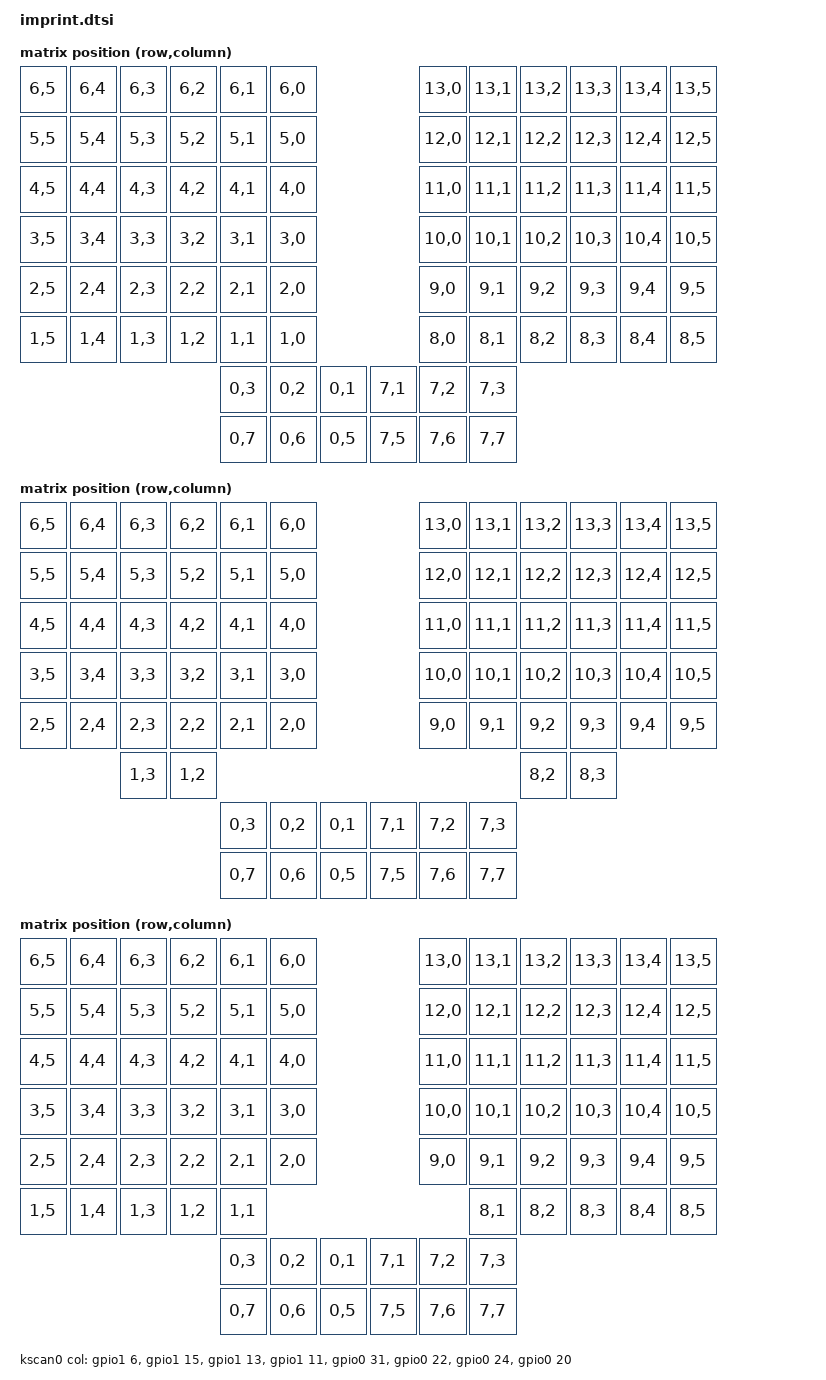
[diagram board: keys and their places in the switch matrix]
#include <dt-bindings/zmk/matrix_transform.h>
#include <input/processors.dtsi>
#include <dt-bindings/zmk/input_transform.h>
#include <physical_layouts.dtsi>

/ {
    chosen {
        zmk,kscan = &kscan0;
        zmk,physical-layout = &imprint_letters_only_layout;
    };

    physical_layouts {
        compatible = "zmk,physical-layouts";

        imprint_letters_only_layout: imprint_letters_only_layout {
            compatible = "zmk,physical-layout";
            display-name = "Letters Only";
            transform = <&imprint_letters_only>;

            keys = <
/* Left top row (RC(4,x)) */
&key_physical_attrs 100 100 0    0   0 0    0
&key_physical_attrs 100 100 200  25  0 200  25
&key_physical_attrs 100 100 400  50  0 400  50
&key_physical_attrs 100 100 600  75  0 600  75
&key_physical_attrs 100 100 800  50  0 800  50
&key_physical_attrs 100 100 1000 25  0 1000 25

/* Right top row (RC(11,x)) */
&key_physical_attrs 100 100 1300 25  0 1300 25
&key_physical_attrs 100 100 1500 50  0 1500 50
&key_physical_attrs 100 100 1700 75  0 1700 75
&key_physical_attrs 100 100 1900 50  0 1900 50
&key_physical_attrs 100 100 2100 25  0 2100 25
&key_physical_attrs 100 100 2300 0   0 2300 0

/* Left middle row (RC(3,x)) */
&key_physical_attrs 100 100 0    100 0 0    100
&key_physical_attrs 100 100 200  125 0 200  125
&key_physical_attrs 100 100 400  150 0 400  150
&key_physical_attrs 100 100 600  175 0 600  175
&key_physical_attrs 100 100 800  150 0 800  150
&key_physical_attrs 100 100 1000 125 0 1000 125

/* Right middle row (RC(10,x)) */
&key_physical_attrs 100 100 1300 125 0 1300 125
&key_physical_attrs 100 100 1500 150 0 1500 150
&key_physical_attrs 100 100 1700 175 0 1700 175
&key_physical_attrs 100 100 1900 150 0 1900 150
&key_physical_attrs 100 100 2100 125 0 2100 125
&key_physical_attrs 100 100 2300 100 0 2300 100

/* Left bottom row (RC(2,x)) */
&key_physical_attrs 100 100 0    200 0 0    200
&key_physical_attrs 100 100 200  225 0 200  225
&key_physical_attrs 100 100 400  250 0 400  250
&key_physical_attrs 100 100 600  275 0 600  275
&key_physical_attrs 100 100 800  250 0 800  250
&key_physical_attrs 100 100 1000 225 0 1000 225

/* Right bottom row (RC(9,x)) */
&key_physical_attrs 100 100 1300 225 0 1300 225
&key_physical_attrs 100 100 1500 250 0 1500 250
&key_physical_attrs 100 100 1700 275 0 1700 275
&key_physical_attrs 100 100 1900 250 0 1900 250
&key_physical_attrs 100 100 2100 225 0 2100 225
&key_physical_attrs 100 100 2300 200 0 2300 200

/* Light blue keys - left: RC(1,3) RC(1,2) */
&key_physical_attrs 100 100 400  375 0 400  375
&key_physical_attrs 100 100 600  375 0 600  375

/* Light blue keys - right: RC(8,2) RC(8,3) */
&key_physical_attrs 100 100 1700 375 0 1700 375
&key_physical_attrs 100 100 1900 375 0 1900 375

/* Left thumb top row: RC(0,3) RC(0,2) RC(0,1) */
&key_physical_attrs 100 100 500  500 0 500  500
&key_physical_attrs 100 100 700  500 0 700  500
&key_physical_attrs 100 100 900  500 0 900  500

/* Right thumb top row: RC(7,1) RC(7,2) RC(7,3) */
&key_physical_attrs 100 100 1300 500 0 1300 500
&key_physical_attrs 100 100 1500 500 0 1500 500
&key_physical_attrs 100 100 1700 500 0 1700 500

/* Left thumb bottom row: RC(0,7) RC(0,6) RC(0,5) */
&key_physical_attrs 100 100 500  600 0 500  600
&key_physical_attrs 100 100 700  600 0 700  600
&key_physical_attrs 100 100 900  600 0 900  600

/* Right thumb bottom row: RC(7,5) RC(7,6) RC(7,7) */
&key_physical_attrs 100 100 1300 600 0 1300 600
&key_physical_attrs 100 100 1500 600 0 1500 600
&key_physical_attrs 100 100 1700 600 0 1700 600
            >;
        };
    };

    default_transform: keymap_transform_0 {
        compatible = "zmk,matrix-transform";
        columns = <8>;
        rows = <14>;
        map = <
RC(6,5) RC(6,4) RC(6,3) RC(6,2) RC(6,1) RC(6,0)                           RC(13,0) RC(13,1) RC(13,2) RC(13,3) RC(13,4) RC(13,5)
RC(5,5) RC(5,4) RC(5,3) RC(5,2) RC(5,1) RC(5,0)                           RC(12,0) RC(12,1) RC(12,2) RC(12,3) RC(12,4) RC(12,5)
RC(4,5) RC(4,4) RC(4,3) RC(4,2) RC(4,1) RC(4,0)                           RC(11,0) RC(11,1) RC(11,2) RC(11,3) RC(11,4) RC(11,5)
RC(3,5) RC(3,4) RC(3,3) RC(3,2) RC(3,1) RC(3,0)                           RC(10,0) RC(10,1) RC(10,2) RC(10,3) RC(10,4) RC(10,5)
RC(2,5) RC(2,4) RC(2,3) RC(2,2) RC(2,1) RC(2,0)                           RC(9,0)  RC(9,1)  RC(9,2)  RC(9,3)  RC(9,4)  RC(9,5)
RC(1,5) RC(1,4) RC(1,3) RC(1,2) RC(1,1) RC(1,0)                           RC(8,0)  RC(8,1)  RC(8,2)  RC(8,3)  RC(8,4)  RC(8,5)
                                    RC(0,3) RC(0,2) RC(0,1)   RC(7,1) RC(7,2) RC(7,3)
                                    RC(0,7) RC(0,6) RC(0,5)   RC(7,5) RC(7,6) RC(7,7)
        >;
    };

    imprint_function_row: keymap_transform_1 {
        compatible = "zmk,matrix-transform";
        columns = <8>;
        rows = <14>;
        map = <
RC(6,5) RC(6,4) RC(6,3) RC(6,2) RC(6,1) RC(6,0)                           RC(13,0) RC(13,1) RC(13,2) RC(13,3) RC(13,4) RC(13,5)
RC(5,5) RC(5,4) RC(5,3) RC(5,2) RC(5,1) RC(5,0)                           RC(12,0) RC(12,1) RC(12,2) RC(12,3) RC(12,4) RC(12,5)
RC(4,5) RC(4,4) RC(4,3) RC(4,2) RC(4,1) RC(4,0)                           RC(11,0) RC(11,1) RC(11,2) RC(11,3) RC(11,4) RC(11,5)
RC(3,5) RC(3,4) RC(3,3) RC(3,2) RC(3,1) RC(3,0)                           RC(10,0) RC(10,1) RC(10,2) RC(10,3) RC(10,4) RC(10,5)
RC(2,5) RC(2,4) RC(2,3) RC(2,2) RC(2,1) RC(2,0)                           RC(9,0)  RC(9,1)  RC(9,2)  RC(9,3)  RC(9,4)  RC(9,5)
                RC(1,3) RC(1,2)                                                             RC(8,2)  RC(8,3)
                                    RC(0,3) RC(0,2) RC(0,1)   RC(7,1) RC(7,2) RC(7,3)
                                    RC(0,7) RC(0,6) RC(0,5)   RC(7,5) RC(7,6) RC(7,7)
        >;
    };

    imprint_function_row_full_bottom_row: keymap_transform_2 {
        compatible = "zmk,matrix-transform";
        columns = <8>;
        rows = <14>;
        map = <
RC(6,5) RC(6,4) RC(6,3) RC(6,2) RC(6,1) RC(6,0)                           RC(13,0) RC(13,1) RC(13,2) RC(13,3) RC(13,4) RC(13,5)
RC(5,5) RC(5,4) RC(5,3) RC(5,2) RC(5,1) RC(5,0)                           RC(12,0) RC(12,1) RC(12,2) RC(12,3) RC(12,4) RC(12,5)
RC(4,5) RC(4,4) RC(4,3) RC(4,2) RC(4,1) RC(4,0)                           RC(11,0) RC(11,1) RC(11,2) RC(11,3) RC(11,4) RC(11,5)
RC(3,5) RC(3,4) RC(3,3) RC(3,2) RC(3,1) RC(3,0)                           RC(10,0) RC(10,1) RC(10,2) RC(10,3) RC(10,4) RC(10,5)
RC(2,5) RC(2,4) RC(2,3) RC(2,2) RC(2,1) RC(2,0)                           RC(9,0)  RC(9,1)  RC(9,2)  RC(9,3)  RC(9,4)  RC(9,5)
RC(1,5) RC(1,4) RC(1,3) RC(1,2) RC(1,1)                                            RC(8,1)  RC(8,2)  RC(8,3)  RC(8,4)  RC(8,5)
                                    RC(0,3) RC(0,2) RC(0,1)   RC(7,1) RC(7,2) RC(7,3)
                                    RC(0,7) RC(0,6) RC(0,5)   RC(7,5) RC(7,6) RC(7,7)
        >;
    };

    imprint_function_row_no_bottom_row: keymap_transform_3 {
        compatible = "zmk,matrix-transform";
        columns = <8>;
        rows = <14>;
        map = <
RC(6,5) RC(6,4) RC(6,3) RC(6,2) RC(6,1) RC(6,0)                           RC(13,0) RC(13,1) RC(13,2) RC(13,3) RC(13,4) RC(13,5)
RC(5,5) RC(5,4) RC(5,3) RC(5,2) RC(5,1) RC(5,0)                           RC(12,0) RC(12,1) RC(12,2) RC(12,3) RC(12,4) RC(12,5)
RC(4,5) RC(4,4) RC(4,3) RC(4,2) RC(4,1) RC(4,0)                           RC(11,0) RC(11,1) RC(11,2) RC(11,3) RC(11,4) RC(11,5)
RC(3,5) RC(3,4) RC(3,3) RC(3,2) RC(3,1) RC(3,0)                           RC(10,0) RC(10,1) RC(10,2) RC(10,3) RC(10,4) RC(10,5)
RC(2,5) RC(2,4) RC(2,3) RC(2,2) RC(2,1) RC(2,0)                           RC(9,0)  RC(9,1)  RC(9,2)  RC(9,3)  RC(9,4)  RC(9,5)
                                    RC(0,3) RC(0,2) RC(0,1)   RC(7,1) RC(7,2) RC(7,3)
                                    RC(0,7) RC(0,6) RC(0,5)   RC(7,5) RC(7,6) RC(7,7)
        >;
    };

    imprint_number_row: keymap_transform_4 {
        compatible = "zmk,matrix-transform";
        columns = <8>;
        rows = <14>;
        map = <
RC(5,5) RC(5,4) RC(5,3) RC(5,2) RC(5,1) RC(5,0)                           RC(12,0) RC(12,1) RC(12,2) RC(12,3) RC(12,4) RC(12,5)
RC(4,5) RC(4,4) RC(4,3) RC(4,2) RC(4,1) RC(4,0)                           RC(11,0) RC(11,1) RC(11,2) RC(11,3) RC(11,4) RC(11,5)
RC(3,5) RC(3,4) RC(3,3) RC(3,2) RC(3,1) RC(3,0)                           RC(10,0) RC(10,1) RC(10,2) RC(10,3) RC(10,4) RC(10,5)
RC(2,5) RC(2,4) RC(2,3) RC(2,2) RC(2,1) RC(2,0)                           RC(9,0)  RC(9,1)  RC(9,2)  RC(9,3)  RC(9,4)  RC(9,5)
                RC(1,3) RC(1,2)                                                             RC(8,2)  RC(8,3)
                                    RC(0,3) RC(0,2) RC(0,1)   RC(7,1) RC(7,2) RC(7,3)
                                    RC(0,7) RC(0,6) RC(0,5)   RC(7,5) RC(7,6) RC(7,7)
        >;
    };

    imprint_number_row_full_bottom_row: keymap_transform_5 {
        compatible = "zmk,matrix-transform";
        columns = <8>;
        rows = <14>;
        map = <
RC(5,5) RC(5,4) RC(5,3) RC(5,2) RC(5,1) RC(5,0)                           RC(12,0) RC(12,1) RC(12,2) RC(12,3) RC(12,4) RC(12,5)
RC(4,5) RC(4,4) RC(4,3) RC(4,2) RC(4,1) RC(4,0)                           RC(11,0) RC(11,1) RC(11,2) RC(11,3) RC(11,4) RC(11,5)
RC(3,5) RC(3,4) RC(3,3) RC(3,2) RC(3,1) RC(3,0)                           RC(10,0) RC(10,1) RC(10,2) RC(10,3) RC(10,4) RC(10,5)
RC(2,5) RC(2,4) RC(2,3) RC(2,2) RC(2,1) RC(2,0)                           RC(9,0)  RC(9,1)  RC(9,2)  RC(9,3)  RC(9,4)  RC(9,5)
RC(1,5) RC(1,4) RC(1,3) RC(1,2) RC(1,1)                                            RC(8,1)  RC(8,2)  RC(8,3)  RC(8,4)  RC(8,5)
                                    RC(0,3) RC(0,2) RC(0,1)   RC(7,1) RC(7,2) RC(7,3)
                                    RC(0,7) RC(0,6) RC(0,5)   RC(7,5) RC(7,6) RC(7,7)
        >;
    };

    imprint_number_row_no_bottom_row: keymap_transform_6 {
        compatible = "zmk,matrix-transform";
        columns = <8>;
        rows = <14>;
        map = <
RC(5,5) RC(5,4) RC(5,3) RC(5,2) RC(5,1) RC(5,0)                           RC(12,0) RC(12,1) RC(12,2) RC(12,3) RC(12,4) RC(12,5)
RC(4,5) RC(4,4) RC(4,3) RC(4,2) RC(4,1) RC(4,0)                           RC(11,0) RC(11,1) RC(11,2) RC(11,3) RC(11,4) RC(11,5)
RC(3,5) RC(3,4) RC(3,3) RC(3,2) RC(3,1) RC(3,0)                           RC(10,0) RC(10,1) RC(10,2) RC(10,3) RC(10,4) RC(10,5)
RC(2,5) RC(2,4) RC(2,3) RC(2,2) RC(2,1) RC(2,0)                           RC(9,0)  RC(9,1)  RC(9,2)  RC(9,3)  RC(9,4)  RC(9,5)
                                    RC(0,3) RC(0,2) RC(0,1)   RC(7,1) RC(7,2) RC(7,3)
                                    RC(0,7) RC(0,6) RC(0,5)   RC(7,5) RC(7,6) RC(7,7)
        >;
    };

    imprint_letters_only: keymap_transform_7 {
        compatible = "zmk,matrix-transform";
        columns = <8>;
        rows = <14>;
        map = <
RC(4,5) RC(4,4) RC(4,3) RC(4,2) RC(4,1) RC(4,0)                           RC(11,0) RC(11,1) RC(11,2) RC(11,3) RC(11,4) RC(11,5)
RC(3,5) RC(3,4) RC(3,3) RC(3,2) RC(3,1) RC(3,0)                           RC(10,0) RC(10,1) RC(10,2) RC(10,3) RC(10,4) RC(10,5)
RC(2,5) RC(2,4) RC(2,3) RC(2,2) RC(2,1) RC(2,0)                           RC(9,0)  RC(9,1)  RC(9,2)  RC(9,3)  RC(9,4)  RC(9,5)
                RC(1,3) RC(1,2)                                                             RC(8,2)  RC(8,3)
                                    RC(0,3) RC(0,2) RC(0,1)   RC(7,1) RC(7,2) RC(7,3)
                                    RC(0,7) RC(0,6) RC(0,5)   RC(7,5) RC(7,6) RC(7,7)
        >;
    };

    imprint_letters_only_full_bottom_row: keymap_transform_8 {
        compatible = "zmk,matrix-transform";
        columns = <8>;
        rows = <14>;
        map = <
RC(4,5) RC(4,4) RC(4,3) RC(4,2) RC(4,1) RC(4,0)                           RC(11,0) RC(11,1) RC(11,2) RC(11,3) RC(11,4) RC(11,5)
RC(3,5) RC(3,4) RC(3,3) RC(3,2) RC(3,1) RC(3,0)                           RC(10,0) RC(10,1) RC(10,2) RC(10,3) RC(10,4) RC(10,5)
RC(2,5) RC(2,4) RC(2,3) RC(2,2) RC(2,1) RC(2,0)                           RC(9,0)  RC(9,1)  RC(9,2)  RC(9,3)  RC(9,4)  RC(9,5)
RC(1,5) RC(1,4) RC(1,3) RC(1,2) RC(1,1)                                            RC(8,1)  RC(8,2)  RC(8,3)  RC(8,4)  RC(8,5)
                                    RC(0,3) RC(0,2) RC(0,1)   RC(7,1) RC(7,2) RC(7,3)
                                    RC(0,7) RC(0,6) RC(0,5)   RC(7,5) RC(7,6) RC(7,7)
        >;
    };

    imprint_letters_only_no_bottom_row: keymap_transform_9 {
        compatible = "zmk,matrix-transform";
        columns = <8>;
        rows = <14>;
        map = <
RC(4,5) RC(4,4) RC(4,3) RC(4,2) RC(4,1) RC(4,0)                           RC(11,0) RC(11,1) RC(11,2) RC(11,3) RC(11,4) RC(11,5)
RC(3,5) RC(3,4) RC(3,3) RC(3,2) RC(3,1) RC(3,0)                           RC(10,0) RC(10,1) RC(10,2) RC(10,3) RC(10,4) RC(10,5)
RC(2,5) RC(2,4) RC(2,3) RC(2,2) RC(2,1) RC(2,0)                           RC(9,0)  RC(9,1)  RC(9,2)  RC(9,3)  RC(9,4)  RC(9,5)
                                    RC(0,3) RC(0,2) RC(0,1)   RC(7,1) RC(7,2) RC(7,3)
                                    RC(0,7) RC(0,6) RC(0,5)   RC(7,5) RC(7,6) RC(7,7)
        >;
    };

    dactyl_manuform_number_row: keymap_transform_10 {
        compatible = "zmk,matrix-transform";
        columns = <8>;
        rows = <14>;
        map = <
RC(5,5) RC(5,4) RC(5,3) RC(5,2) RC(5,1) RC(5,0)                           RC(12,0) RC(12,1) RC(12,2) RC(12,3) RC(12,4) RC(12,5)
RC(4,5) RC(4,4) RC(4,3) RC(4,2) RC(4,1) RC(4,0)                           RC(11,0) RC(11,1) RC(11,2) RC(11,3) RC(11,4) RC(11,5)
RC(3,5) RC(3,4) RC(3,3) RC(3,2) RC(3,1) RC(3,0)                           RC(10,0) RC(10,1) RC(10,2) RC(10,3) RC(10,4) RC(10,5)
RC(2,5) RC(2,4) RC(2,3) RC(2,2) RC(2,1) RC(2,0)                           RC(9,0)  RC(9,1)  RC(9,2)  RC(9,3)  RC(9,4)  RC(9,5)
RC(1,5) RC(1,4) RC(1,3) RC(1,2)                                                             RC(8,2)  RC(8,3)  RC(8,4)  RC(8,5)
                                    RC(0,3) RC(0,2) RC(0,1)   RC(7,1) RC(7,2) RC(7,3)
                                    RC(0,7) RC(0,6) RC(0,5)   RC(7,5) RC(7,6) RC(7,7)
        >;
    };

    dactyl_single_arc_letters_only: keymap_transform_11 {
        compatible = "zmk,matrix-transform";
        columns = <8>;
        rows = <14>;
        map = <
RC(4,5) RC(4,4) RC(4,3) RC(4,2) RC(4,1) RC(4,0)                           RC(11,0) RC(11,1) RC(11,2) RC(11,3) RC(11,4) RC(11,5)
RC(3,5) RC(3,4) RC(3,3) RC(3,2) RC(3,1) RC(3,0)                           RC(10,0) RC(10,1) RC(10,2) RC(10,3) RC(10,4) RC(10,5)
RC(2,5) RC(2,4) RC(2,3) RC(2,2) RC(2,1) RC(2,0)                           RC(9,0)  RC(9,1)  RC(9,2)  RC(9,3)  RC(9,4)  RC(9,5)
RC(1,5) RC(1,4) RC(1,3) RC(1,2)                                                             RC(8,2)  RC(8,3)  RC(8,4)  RC(8,5)
                                    RC(0,3) RC(0,2) RC(0,1)   RC(7,1) RC(7,2) RC(7,3)
        >;
    };

    dactyl_single_arc_number_row: keymap_transform_12 {
        compatible = "zmk,matrix-transform";
        columns = <8>;
        rows = <14>;
        map = <
RC(5,5) RC(5,4) RC(5,3) RC(5,2) RC(5,1) RC(5,0)                           RC(12,0) RC(12,1) RC(12,2) RC(12,3) RC(12,4) RC(12,5)
RC(4,5) RC(4,4) RC(4,3) RC(4,2) RC(4,1) RC(4,0)                           RC(11,0) RC(11,1) RC(11,2) RC(11,3) RC(11,4) RC(11,5)
RC(3,5) RC(3,4) RC(3,3) RC(3,2) RC(3,1) RC(3,0)                           RC(10,0) RC(10,1) RC(10,2) RC(10,3) RC(10,4) RC(10,5)
RC(2,5) RC(2,4) RC(2,3) RC(2,2) RC(2,1) RC(2,0)                           RC(9,0)  RC(9,1)  RC(9,2)  RC(9,3)  RC(9,4)  RC(9,5)
RC(1,5) RC(1,4) RC(1,3) RC(1,2)                                                             RC(8,2)  RC(8,3)  RC(8,4)  RC(8,5)
                                    RC(0,3) RC(0,2) RC(0,1)   RC(7,1) RC(7,2) RC(7,3)
        >;
    };

    legacy_single_arc_imprint: keymap_transform_13 {
        compatible = "zmk,matrix-transform";
        columns = <7>;
        rows = <14>;
        map = <
RC(6,6) RC(6,5) RC(6,4) RC(6,3) RC(6,2) RC(6,1)                 RC(13,1) RC(13,2) RC(13,3) RC(13,4) RC(13,5) RC(13,6)
RC(5,6) RC(5,5) RC(5,4) RC(5,3) RC(5,2) RC(5,1)                 RC(12,1) RC(12,2) RC(12,3) RC(12,4) RC(12,5) RC(12,6)
RC(4,6) RC(4,5) RC(4,4) RC(4,3) RC(4,2) RC(4,1)                 RC(11,1) RC(11,2) RC(11,3) RC(11,4) RC(11,5) RC(11,6)
RC(3,6) RC(3,5) RC(3,4) RC(3,3) RC(3,2) RC(3,1)                 RC(10,1) RC(10,2) RC(10,3) RC(10,4) RC(10,5) RC(10,6)
RC(2,6) RC(2,5) RC(2,4) RC(2,3) RC(2,2) RC(2,1)                 RC(9,1)  RC(9,2)  RC(9,3)  RC(9,4)  RC(9,5) RC(9,6)
                RC(1,4) RC(1,3) RC(1,2) RC(1,1) RC(1,0) RC(8,0) RC(8,1)  RC(7,2)  RC(8,3)  RC(8,4)
        >;
    };

    kscan0: kscan {
        compatible = "zmk,kscan-gpio-matrix";
        label = "KSCAN";

        wakeup-source;

        diode-direction = "row2col";
        col-gpios
            = <&gpio1 6 (GPIO_ACTIVE_HIGH | GPIO_PULL_DOWN)>
            , <&gpio1 15 (GPIO_ACTIVE_HIGH | GPIO_PULL_DOWN)>
            , <&gpio1 13 (GPIO_ACTIVE_HIGH | GPIO_PULL_DOWN)>
            , <&gpio1 11 (GPIO_ACTIVE_HIGH | GPIO_PULL_DOWN)>
            , <&gpio0 31 (GPIO_ACTIVE_HIGH | GPIO_PULL_DOWN)>
            , <&gpio0 22 (GPIO_ACTIVE_HIGH | GPIO_PULL_DOWN)>
            , <&gpio0 24 (GPIO_ACTIVE_HIGH | GPIO_PULL_DOWN)>
            , <&gpio0 20 (GPIO_ACTIVE_HIGH | GPIO_PULL_DOWN)>
            ;
    };

    split_inputs {
        #address-cells = <1>;
        #size-cells = <0>;

        trackball_peripheral_split: trackball_peripheral_split@0 {
            compatible = "zmk,input-split";
            reg = <0>;
        };
    };

    trackball_peripheral_listener: trackball_peripheral_listener {
        compatible = "zmk,input-listener";
        status = "disabled";
        device = <&trackball_peripheral_split>;
    };

    trackball_central_listener: trackball_central_listener {
        compatible = "zmk,input-listener";
        status = "disabled";
    };
};
